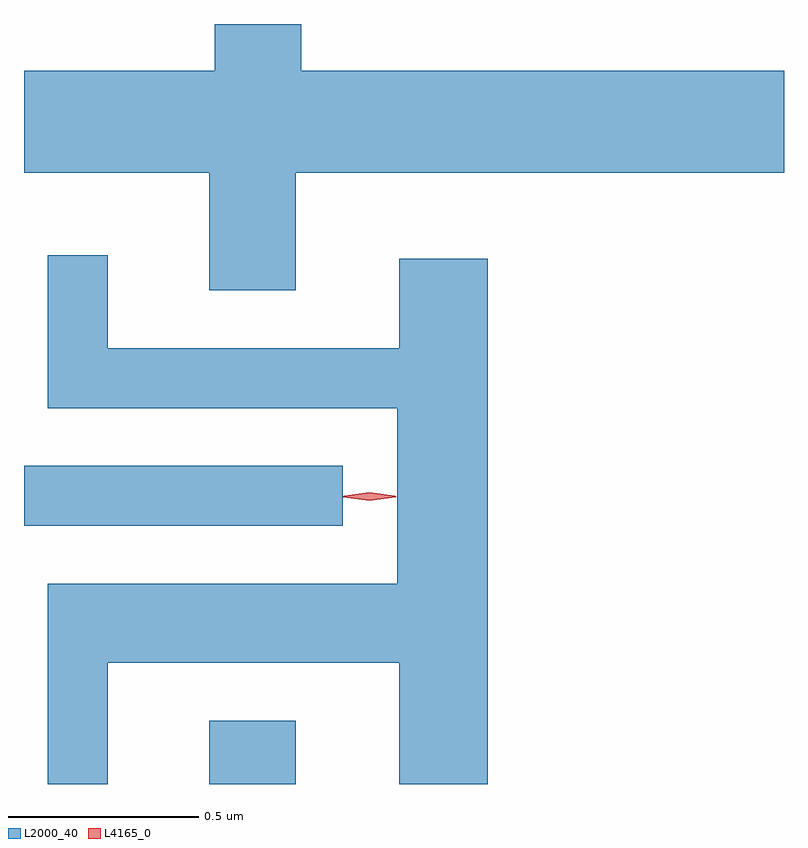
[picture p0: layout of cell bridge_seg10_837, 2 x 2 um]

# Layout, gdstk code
import gdstk
lib = gdstk.Library(unit=1e-6, precision=1e-09)
def R(c, l, rs):  # rectangles x0, y0, x1, y1
    for r in rs: c.add(gdstk.rectangle(r[:2], r[2:], *l))
def P(c, l, *ps):  # polygons
    for p in ps: c.add(gdstk.Polygon(p, *l))
L2000_40 = (2000, 40)
L4165_0 = (4165, 0)

bridge_seg10_837 = lib.new_cell('bridge_seg10_837')
R(bridge_seg10_837, L2000_40, [(583.281,2087.887,583.509,2088.054), (582.794,2088.566,583.633,2088.724)])
P(bridge_seg10_837, L2000_40, [(583.509,2089.496),(584.794,2089.496),(584.794,2089.764),(583.524,2089.764),(583.524,2089.887),(583.296,2089.887),(583.296,2089.764),(582.794,2089.764),(582.794,2089.496),(583.281,2089.496),(583.281,2089.186),(583.509,2089.186)],
  [(583.014,2088.206),(583.781,2088.206),(583.781,2087.887),(584.014,2087.887),(584.014,2089.269),(583.781,2089.269),(583.781,2089.034),(583.014,2089.034),(583.014,2089.278),(582.856,2089.278),(582.856,2088.876),(583.776,2088.876),(583.776,2088.414),(582.856,2088.414),(582.856,2087.887),(583.014,2087.887)])
P(bridge_seg10_837, L4165_0, [(583.703,2088.635),(583.638,2088.644),(583.637,2088.645),(583.638,2088.645),(583.703,2088.655),(583.769,2088.645),(583.769,2088.645),(583.769,2088.644)],
  [(583.703,2088.633),(583.634,2088.642),(583.634,2088.643),(583.634,2088.644),(583.703,2088.653),(583.772,2088.644),(583.773,2088.643),(583.772,2088.642)])

lib.write_gds('bridge_seg10_837.gds')
